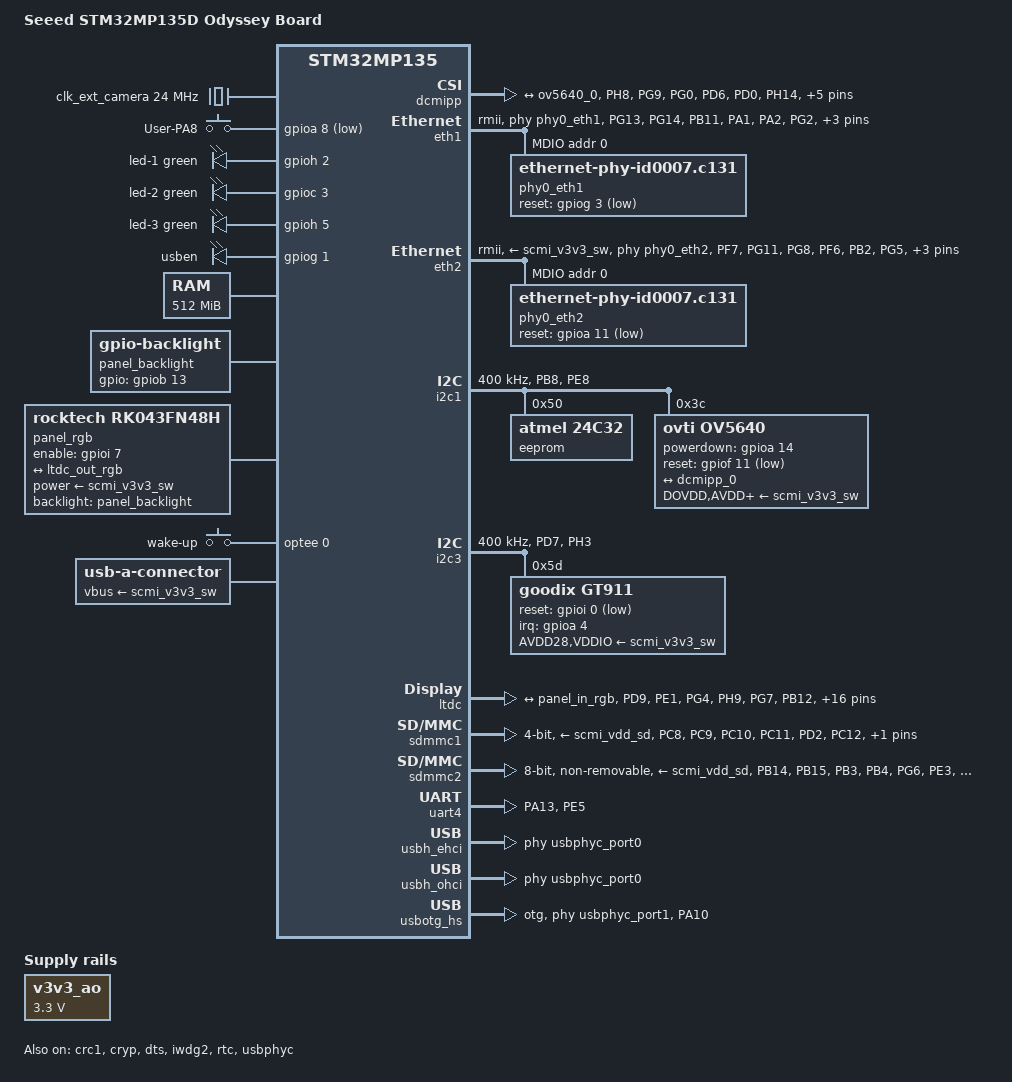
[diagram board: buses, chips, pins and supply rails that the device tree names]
// SPDX-License-Identifier: (GPL-2.0+ OR BSD-3-Clause)
/*
 * Copyright (C) STMicroelectronics 2021 - All Rights Reserved
 * Author: Alexandre Torgue <alexandre.torgue@foss.st.com> for STMicroelectronics.
 */

/dts-v1/;

#include <dt-bindings/gpio/gpio.h>
#include <dt-bindings/input/input.h>
#include <dt-bindings/leds/common.h>
#include <dt-bindings/rtc/rtc-stm32.h>
#include <dt-bindings/pinctrl/stm32-pinfunc.h>
#include "stm32mp135.dtsi"
#include "stm32mp13xf.dtsi"

/ {
	model = "Seeed STM32MP135D Odyssey Board";
	compatible = "st,stm32mp135d-odyssey", "st,stm32mp135f-dk", "st,stm32mp135";

	aliases {
		ethernet0 = &eth1;
		ethernet1 = &eth2;
		serial0 = &uart4;
		serial1 = &usart2;
	};

	chosen {
		#address-cells = <1>;
		#size-cells = <1>;
		ranges;
		stdout-path = "serial0:115200n8";

		framebuffer {
			compatible = "simple-framebuffer";
			clocks = <&rcc LTDC_PX>;
			status = "disabled";
		};
	};

	clocks {
		clk_ext_camera: clk-ext-camera {
			#clock-cells = <0>;
			compatible = "fixed-clock";
			clock-frequency = <24000000>;
		};
	};

	gpio-keys {
		compatible = "gpio-keys";

		user-pa8 {
			label = "User-PA8";
			linux,code = <BTN_1>;
			gpios = <&gpioa 8 (GPIO_ACTIVE_LOW | GPIO_PULL_UP)>;
			wakeup-source;
		};
	};

	leds {
		compatible = "gpio-leds";

		led-1 {
			function = LED_FUNCTION_HEARTBEAT;
			color = <LED_COLOR_ID_GREEN>;
			gpios = <&gpioh 2 GPIO_ACTIVE_HIGH>;
			linux,default-trigger = "heartbeat";
			default-state = "off";
		};

		led-2 {
			function = LED_FUNCTION_DISK_READ;
			color = <LED_COLOR_ID_GREEN>;
			gpios = <&gpioc 3 GPIO_ACTIVE_HIGH>;
			linux,default-trigger = "mmc0";
			default-state = "off";
		};

		led-3 {
			function = LED_FUNCTION_DISK_WRITE;
			color = <LED_COLOR_ID_GREEN>;
			gpios = <&gpioh 5 GPIO_ACTIVE_HIGH>;
			linux,default-trigger = "mmc0";
			default-state = "off";
		};

		usben {
			label = "usben";
			gpios = <&gpiog  1  GPIO_ACTIVE_HIGH>;
			linux,default-trigger = "usben";
			default-state = "on";
		};
	};

	memory@c0000000 {
		device_type = "memory";
		reg = <0xc0000000 0x20000000>;
	};

	panel_backlight: panel-backlight {
		compatible = "gpio-backlight";
		gpios = <&gpiob 13 GPIO_ACTIVE_HIGH>;
		default-on;
		default-brightness-level = <0>;
		status = "okay";
	};

	panel_rgb: panel-rgb {
		compatible = "rocktech,rk043fn48h", "panel-dpi";
		enable-gpios = <&gpioi 7 GPIO_ACTIVE_HIGH>;
		backlight = <&panel_backlight>;
		power-supply = <&scmi_v3v3_sw>;
		data-mapping = "rgb24";
		status = "okay";

		width-mm = <105>;
		height-mm = <67>;

		port {
			panel_in_rgb: endpoint {
				remote-endpoint = <&ltdc_out_rgb>;
			};
		};

		panel-timing {
			clock-frequency = <27000000>;
			hactive = <800>;
			vactive = <480>;

			hsync-len = <1>;
			hfront-porch = <40>;
			hback-porch = <46>;

			vsync-len = <3>;
			vfront-porch = <13>;
			vback-porch = <23>;

			hsync-active = <0>;
			vsync-active = <0>;
			de-active = <1>;
			pixelclk-active = <1>;
		};
	};

	reserved-memory {
		#address-cells = <1>;
		#size-cells = <1>;
		ranges;

		optee_framebuffer@dd000000 {
			reg = <0xdd000000 0x1000000>;
			no-map;
		};

		optee@de000000 {
			reg = <0xde000000 0x2000000>;
			no-map;
		};
	};

	v3v3_ao: v3v3_ao {
		compatible = "regulator-fixed";
		regulator-name = "v3v3_ao";
		regulator-min-microvolt = <3300000>;
		regulator-max-microvolt = <3300000>;
		regulator-always-on;
	};

	wake_up {
		compatible = "gpio-keys";
		status = "okay";

		button {
			label = "wake-up";
			linux,code = <KEY_WAKEUP>;
			interrupts-extended = <&optee 0>;
			status = "okay";
		};
	};
};

&crc1 {
	status = "okay";
};

&cryp {
	status = "okay";
};

&dcmipp {
	status = "okay";
	pinctrl-names = "default", "sleep";
	pinctrl-0 = <&dcmipp_pins_a>;
	pinctrl-1 = <&dcmipp_sleep_pins_a>;
	port {
		dcmipp_0: endpoint {
			remote-endpoint = <&ov5640_0>;
			bus-type = <5>;
			bus-width = <8>;
			hsync-active = <0>;
			vsync-active = <0>;
			pclk-sample = <1>;
			pclk-max-frequency = <77000000>;
		};
	};
};

&dma1 {
	sram = <&dma_pool>;
};

&dma2 {
	sram = <&dma_pool>;
};

&dts {
	status = "okay";
};

&eth1 {
	status = "okay";
	pinctrl-0 = <&eth1_rmii_pins_a>;
	pinctrl-1 = <&eth1_rmii_sleep_pins_a>;
	pinctrl-names = "default", "sleep";
	phy-mode = "rmii";
	max-speed = <100>;
	phy-handle = <&phy0_eth1>;
	nvmem-cells = <&ethernet_mac1_address>;
	nvmem-cell-names = "mac-address";

	mdio1 {
		#address-cells = <1>;
		#size-cells = <0>;
		compatible = "snps,dwmac-mdio";

		phy0_eth1: ethernet-phy@0 {
			compatible = "ethernet-phy-id0007.c131";
			reset-gpios = <&gpiog 3 (GPIO_ACTIVE_LOW | GPIO_PULL_UP)>;
			reset-assert-us = <10000>;
			reset-deassert-us = <80000>;
			reg = <0>;
			wakeup-source;
		};
	};
};

&eth2 {
	status = "okay";
	pinctrl-0 = <&eth2_rmii_pins_a>;
	pinctrl-1 = <&eth2_rmii_sleep_pins_a>;
	pinctrl-names = "default", "sleep";
	phy-mode = "rmii";
	max-speed = <100>;
	phy-handle = <&phy0_eth2>;
	st,ext-phyclk;
	phy-supply = <&scmi_v3v3_sw>;
	nvmem-cells = <&ethernet_mac2_address>;
	nvmem-cell-names = "mac-address";

	mdio1 {
		#address-cells = <1>;
		#size-cells = <0>;
		compatible = "snps,dwmac-mdio";

		phy0_eth2: ethernet-phy@0 {
			compatible = "ethernet-phy-id0007.c131";
			reset-gpios = <&gpioa 11 (GPIO_ACTIVE_LOW | GPIO_PULL_UP)>;
			reset-assert-us = <10000>;
			reset-deassert-us = <80000>;
			reg = <0>;
		};
	};
};

&i2c1 {
	pinctrl-names = "default", "sleep";
	pinctrl-0 = <&i2c1_pins_a>;
	pinctrl-1 = <&i2c1_sleep_pins_a>;
	i2c-scl-rising-time-ns = <300>;
	i2c-scl-falling-time-ns = <300>;
	clock-frequency = <400000>;
	status = "okay";
	/* spare dmas for other usage */
	/delete-property/dmas;
	/delete-property/dma-names;

	eeprom@50 {
		compatible = "atmel,24c32";
		reg = <0x50>;
	};

	ov5640: camera@3c {
		compatible = "ovti,ov5640";
		reg = <0x3c>;
		clocks = <&clk_ext_camera>;
		clock-names = "xclk";
		DOVDD-supply = <&scmi_v3v3_sw>;
		AVDD-supply = <&scmi_v3v3_sw>;
		DVDD-supply = <&scmi_v3v3_sw>;
		status = "okay";
		powerdown-gpios = <&gpioa 14 (GPIO_ACTIVE_HIGH | GPIO_PUSH_PULL)>;
		reset-gpios = <&gpiof 11 (GPIO_ACTIVE_LOW | GPIO_PUSH_PULL)>;
		rotation = <180>;

		port {
			ov5640_0: endpoint {
				remote-endpoint = <&dcmipp_0>;
				bus-width = <8>;
				data-shift = <2>;
				hsync-active = <0>;
				vsync-active = <0>;
				pclk-sample = <1>;
				pclk-max-frequency = <77000000>;
			};
		};
	};
};

&i2c3 {
	pinctrl-names = "default", "sleep";
	pinctrl-0 = <&i2c3_pins_a>;
	pinctrl-1 = <&i2c3_sleep_pins_a>;
	i2c-scl-rising-time-ns = <300>;
	i2c-scl-falling-time-ns = <300>;
	clock-frequency = <400000>;
	status = "okay";
	/* spare dmas for other usage */
	/delete-property/dmas;
	/delete-property/dma-names;

	goodix: goodix_ts@5d {
		compatible = "goodix,gt911";
		reg = <0x5d>;
		interrupt-parent = <&gpioa>;
		interrupts = <4 IRQ_TYPE_EDGE_FALLING>;
	        reset-gpios = <&gpioi 0 GPIO_ACTIVE_LOW>;
	        AVDD28-supply = <&scmi_v3v3_sw>;
	        VDDIO-supply = <&scmi_v3v3_sw>;
		touchscreen-size-x = <800>;
		touchscreen-size-y = <480>;
		status = "okay" ;
	};
};

&iwdg2 {
	timeout-sec = <32>;
	status = "okay";
};

&ltdc {
	pinctrl-names = "default", "sleep";
	pinctrl-0 = <&ltdc_pins_a>;
	pinctrl-1 = <&ltdc_sleep_pins_a>;
	status = "okay";

	port {
		#address-cells = <1>;
		#size-cells = <0>;

		ltdc_out_rgb: endpoint@0 {
			reg = <0>;
			remote-endpoint = <&panel_in_rgb>;
		};
	};
};

&qspi {
	status = "disabled";
};

&rtc {
	status = "okay";
};

&sai1 {
	status = "disabled";
};

&scmi_regu {
	scmi_vddcpu: voltd-vddcpu {
		voltd-name = "vddcpu";
		regulator-name = "vddcpu";
	};
	scmi_vdd: voltd-vdd {
		voltd-name = "vdd";
		regulator-name = "vdd";
	};
	scmi_vddcore: voltd-vddcore {
		voltd-name = "vddcore";
		regulator-name = "vddcore";
	};
	scmi_vdd_adc: voltd-vdd_adc {
		voltd-name = "vdd_adc";
		regulator-name = "vdd_adc";
	};
	scmi_vdd_usb: voltd-vdd_usb {
		voltd-name = "vdd_usb";
		regulator-name = "vdd_usb";
	};
	scmi_vdd_sd: voltd-vdd_sd {
		voltd-name = "vdd_sd";
		regulator-name = "vdd_sd";
	};
	scmi_v1v8_periph: voltd-v1v8_periph {
		voltd-name = "v1v8_periph";
		regulator-name = "v1v8_periph";
	};
	scmi_v3v3_sw: voltd-v3v3_sw {
		voltd-name = "v3v3_sw";
		regulator-name = "v3v3_sw";
	};
};

&sdmmc1 {
	pinctrl-names = "default", "opendrain", "sleep";
	pinctrl-0 = <&sdmmc1_b4_pins_a &sdmmc1_clk_pins_a>;
	pinctrl-1 = <&sdmmc1_b4_od_pins_a &sdmmc1_clk_pins_a>;
	pinctrl-2 = <&sdmmc1_b4_sleep_pins_a>;
	cd-gpios = <&gpioh 10 (GPIO_ACTIVE_LOW | GPIO_PULL_UP)>;
	disable-wp;
	st,neg-edge;
	bus-width = <4>;
	vmmc-supply = <&scmi_vdd_sd>;
	status = "okay";
};

&sdmmc2 {
	pinctrl-names = "default", "opendrain", "sleep";
	pinctrl-0 = <&sdmmc2_b4_pins_a &sdmmc2_clk_pins_a &sdmmc2_d47_pins_a>;
	pinctrl-1 = <&sdmmc2_b4_od_pins_a &sdmmc2_clk_pins_a &sdmmc2_d47_pins_a>;
	pinctrl-2 = <&sdmmc2_b4_sleep_pins_a &sdmmc2_d47_sleep_pins_a>;

	non-removable;
	st,neg-edge;
	bus-width = <8>;
	vmmc-supply = <&scmi_vdd_sd>;
	vqmmc-supply = <&scmi_vdd_sd>;

	no-sd;
	no-sdio;
	mmc-ddr-3_3v;
	no-1-8-v;
	max-frequency = <200000000>;
	status = "okay";
};

&spi5 {
	status = "disabled";
};

&sram {
	dma_pool: dma-sram@0 {
		reg = <0x0 0x4000>;
		pool;
	};
};

&timers2 {
	status = "disabled";
};

&timers3 {
	status = "disabled";
};

&timers5 {
	status = "disabled";
};

&uart4 {
	pinctrl-names = "default", "sleep", "idle";
	pinctrl-0 = <&uart4_pins_a>;
	pinctrl-1 = <&uart4_sleep_pins_a>;
	pinctrl-2 = <&uart4_idle_pins_a>;
	/delete-property/dmas;
	/delete-property/dma-names;
	status = "okay";
};

&usart2 {
	status = "disabled";
};

&usbh_ehci {
	phys = <&usbphyc_port0>;
	status = "okay";
};

&usbh_ohci{
	status = "okay";
	phys = <&usbphyc_port0>;
};

&usbotg_hs {
	pinctrl-0 = <&usbotg_hs_pins_a>;
    pinctrl-names = "default";
	phys = <&usbphyc_port1 0>;
	phy-names = "usb2-phy";
	dr_mode = "otg";
	usb-role-switch;
	status = "okay";
	/* port {
		usbotg_hs_ep: endpoint {
			remote-endpoint = <&con_usb_c_g0_ep>;
		};
	}; */
};

&usbphyc {
	status = "okay";
};

&usbphyc_port0 {
	phy-supply = <&scmi_vdd_usb>;
	st,current-boost-microamp = <1000>;
	st,decrease-hs-slew-rate;
	st,tune-hs-dc-level = <2>;
	st,enable-hs-rftime-reduction;
	st,trim-hs-current = <11>;
	st,trim-hs-impedance = <2>;
	st,tune-squelch-level = <1>;
	st,enable-hs-rx-gain-eq;
	st,no-hs-ftime-ctrl;
	st,no-lsfs-sc;

	/*
	 * Hack to keep hub active if wakeup source is enabled
	 * otherwise the hub will wakeup the port0 as soon as the v3v3_sw is disabled
	 */
	connector {
		compatible = "usb-a-connector";
		vbus-supply = <&scmi_v3v3_sw>;
	};
};

&usbphyc_port1 {
	phy-supply = <&scmi_vdd_usb>;
	st,current-boost-microamp = <1000>;
	st,decrease-hs-slew-rate;
	st,tune-hs-dc-level = <2>;
	st,enable-hs-rftime-reduction;
	st,trim-hs-current = <11>;
	st,trim-hs-impedance = <2>;
	st,tune-squelch-level = <1>;
	st,enable-hs-rx-gain-eq;
	st,no-hs-ftime-ctrl;
	st,no-lsfs-sc;
};

&pinctrl {
	/* dcmipp */
	dcmipp_pins_a: dcmi-0 {
		pins1 {
			pinmux = <STM32_PINMUX('H',  8,  AF13)>,/* DCMI_HSYNC */
				 <STM32_PINMUX('G',  9,  AF13)>,/* DCMI_VSYNC */
				 <STM32_PINMUX('G',  0,  AF13)>,/* DCMI_PIXCLK */
				 <STM32_PINMUX('D',  6,  AF14)>,/* DCMI_D0 */
				 <STM32_PINMUX('D',  0,  AF13)>,/* DCMI_D1 */
				 <STM32_PINMUX('H', 14,  AF13)>,/* DCMI_D2 */
				 <STM32_PINMUX('D',  8,  AF14)>,/* DCMI_D3 */
				 <STM32_PINMUX('E', 13,  AF13)>,/* DCMI_D4 */
				 <STM32_PINMUX('B',  6,  AF13)>,/* DCMI_D5 */
				 <STM32_PINMUX('D', 12,  AF13)>,/* DCMI_D6 */
				 <STM32_PINMUX('E',  6,  AF13)>;/* DCMI_D7 */
			bias-disable;
		};
	};

	dcmipp_sleep_pins_a: dcmi-sleep-0 {
		pins1 {
			pinmux = <STM32_PINMUX('H',  8,  ANALOG)>,/* DCMI_HSYNC */
				 <STM32_PINMUX('G',  9,  ANALOG)>,/* DCMI_VSYNC */
				 <STM32_PINMUX('G',  0,  ANALOG)>,/* DCMI_PIXCLK */
				 <STM32_PINMUX('D',  6,  ANALOG)>,/* DCMI_D0 */
				 <STM32_PINMUX('D',  0,  ANALOG)>,/* DCMI_D1 */
				 <STM32_PINMUX('H', 14,  ANALOG)>,/* DCMI_D2 */
				 <STM32_PINMUX('D',  8,  ANALOG)>,/* DCMI_D3 */
				 <STM32_PINMUX('E', 13,  ANALOG)>,/* DCMI_D4 */
				 <STM32_PINMUX('B',  6,  ANALOG)>,/* DCMI_D5 */
				 <STM32_PINMUX('D', 12,  ANALOG)>,/* DCMI_D6 */
				 <STM32_PINMUX('E',  6,  ANALOG)>;/* DCMI_D7 */
		};
	};

	/* eth1 */
	eth1_rmii_pins_a: eth1-rmii-1 {
		pins1 {
			pinmux = <STM32_PINMUX('G', 13, AF11)>, /* ETH_RMII_TXD0 */
				 <STM32_PINMUX('G', 14, AF11)>, /* ETH_RMII_TXD1 */
				 <STM32_PINMUX('B', 11, AF11)>, /* ETH_RMII_TX_EN */
				 <STM32_PINMUX('A', 1, AF11)>, /* ETH_RMII_REF_CLK */
				 <STM32_PINMUX('A', 2, AF11)>, /* ETH_MDIO */
				 <STM32_PINMUX('G', 2, AF11)>; /* ETH_MDC */
			bias-disable;
			drive-push-pull;
			slew-rate = <1>;
		};

		pins2 {
			pinmux = <STM32_PINMUX('C', 4, AF11)>, /* ETH_RMII_RXD0 */
				 <STM32_PINMUX('C', 5, AF11)>, /* ETH_RMII_RXD1 */
				 <STM32_PINMUX('C', 1, AF10)>; /* ETH_RMII_CRS_DV */
			bias-disable;
		};
	};

	eth1_rmii_sleep_pins_a: eth1-rmii-sleep-1 {
		pins1 {
			pinmux = <STM32_PINMUX('G', 13, ANALOG)>, /* ETH_RMII_TXD0 */
				 <STM32_PINMUX('G', 14, ANALOG)>, /* ETH_RMII_TXD1 */
				 <STM32_PINMUX('B', 11, ANALOG)>, /* ETH_RMII_TX_EN */
				 <STM32_PINMUX('A', 1, ANALOG)>, /* ETH_RMII_REF_CLK */
				 <STM32_PINMUX('A', 2, ANALOG)>, /* ETH_MDIO */
				 <STM32_PINMUX('G', 2, ANALOG)>, /* ETH_MDC */
				 <STM32_PINMUX('C', 4, ANALOG)>, /* ETH_RMII_RXD0 */
				 <STM32_PINMUX('C', 5, ANALOG)>, /* ETH_RMII_RXD1 */
				 <STM32_PINMUX('C', 1, ANALOG)>; /* ETH_RMII_CRS_DV */
		};
	};

	/* eth2 */
	eth2_rmii_pins_a: eth2-rmii-2 {
		pins1 {
			pinmux = <STM32_PINMUX('F', 7, AF11)>, /* ETH_RMII_TXD0 */
				 <STM32_PINMUX('G', 11, AF10)>, /* ETH_RMII_TXD1 */
				 <STM32_PINMUX('G', 8, AF13)>, /* ETH_RMII_ETHCK */
				 <STM32_PINMUX('F', 6, AF11)>, /* ETH_RMII_TX_EN */
				 <STM32_PINMUX('B', 2, AF11)>, /* ETH_MDIO */
				 <STM32_PINMUX('G', 5, AF10)>; /* ETH_MDC */
			bias-disable;
			drive-push-pull;
			slew-rate = <1>;
		};

		pins2 {
			pinmux = <STM32_PINMUX('F', 4, AF11)>, /* ETH_RMII_RXD0 */
				 <STM32_PINMUX('E', 2, AF10)>, /* ETH_RMII_RXD1 */
				 <STM32_PINMUX('A', 12, AF11)>; /* ETH_RMII_CRS_DV */
			bias-disable;
		};
	};

	eth2_rmii_sleep_pins_a: eth2-rmii-sleep-2 {
		pins1 {
			pinmux = <STM32_PINMUX('F', 7, ANALOG)>, /* ETH_RMII_TXD0 */
				 <STM32_PINMUX('G', 11, ANALOG)>, /* ETH_RMII_TXD1 */
				 <STM32_PINMUX('G', 8, ANALOG)>, /* ETH_RMII_ETHCK */
				 <STM32_PINMUX('F', 6, ANALOG)>, /* ETH_RMII_TX_EN */
				 <STM32_PINMUX('B', 2, ANALOG)>, /* ETH_MDIO */
				 <STM32_PINMUX('G', 5, ANALOG)>, /* ETH_MDC */
				 <STM32_PINMUX('F', 4, ANALOG)>, /* ETH_RMII_RXD0 */
				 <STM32_PINMUX('E', 2, ANALOG)>, /* ETH_RMII_RXD1 */
				 <STM32_PINMUX('A', 12, ANALOG)>; /* ETH_RMII_CRS_DV */
		};
	};

	/* i2c1 */
	i2c1_pins_a: i2c1-0 {
		pins {
			pinmux = <STM32_PINMUX('B', 8, AF4)>, /* I2C1_SCL */
				 <STM32_PINMUX('E', 8, AF5)>; /* I2C1_SDA */
			bias-disable;
			drive-open-drain;
			slew-rate = <0>;
		};
	};

	i2c1_sleep_pins_a: i2c1-sleep-0 {
		pins {
			pinmux = <STM32_PINMUX('B', 8, ANALOG)>, /* I2C1_SCL */
				 <STM32_PINMUX('E', 8, ANALOG)>; /* I2C1_SDA */
		};
	};

	/* i2c3 */
	i2c3_pins_a: i2c3-0 {
		pins {
			pinmux = <STM32_PINMUX('D', 7, AF5)>, /* I2C3_SDA */
				 <STM32_PINMUX('H', 3, AF4)>; /* I2C3_SCL */
			bias-disable;
			drive-open-drain;
			slew-rate = <0>;
		};
	};

	i2c3_sleep_pins_a: i2c3-sleep-0 {
		pins {
			pinmux = <STM32_PINMUX('D', 7, ANALOG)>, /* I2C3_SDA */
				 <STM32_PINMUX('H', 3, ANALOG)>; /* I2C3_SCL */
		};
	};

	/* ltdc */
	ltdc_pins_a: ltdc-0 {
		pins {
			pinmux = <STM32_PINMUX('D',  9, AF13)>, /* LCD_CLK */
				 <STM32_PINMUX('E',  1, AF9)>, /* LCD_HSYNC */
				 <STM32_PINMUX('G',  4, AF11)>, /* LCD_VSYNC */
				 <STM32_PINMUX('H',  9, AF11)>, /* LCD_DE */
				 <STM32_PINMUX('G',  7, AF14)>, /* LCD_R2 */
				 <STM32_PINMUX('B', 12, AF13)>, /* LCD_R3 */
				 <STM32_PINMUX('D', 14, AF14)>, /* LCD_R4 */
				 <STM32_PINMUX('F',  5, AF14)>, /* LCD_R5 */
				 <STM32_PINMUX('A',  9, AF14)>, /* LCD_R6 */
				 <STM32_PINMUX('E',  9, AF14)>, /* LCD_R7 */
				 <STM32_PINMUX('H', 13, AF14)>, /* LCD_G2 */
				 <STM32_PINMUX('F',  3, AF14)>, /* LCD_G3 */
				 <STM32_PINMUX('F',  2, AF13)>, /* LCD_G4 */
				 <STM32_PINMUX('D', 10,  AF9)>, /* LCD_G5 */
				 <STM32_PINMUX('E', 12, AF14)>, /* LCD_G6 */
				 <STM32_PINMUX('A', 15, AF11)>, /* LCD_G7 */
				 <STM32_PINMUX('H',  7, AF14)>, /* LCD_B2 */
				 <STM32_PINMUX('E',  7, AF13)>, /* LCD_B3 */
				 <STM32_PINMUX('G', 15, AF11)>, /* LCD_B4 */
				 <STM32_PINMUX('E',  0, AF14)>, /* LCD_B5 */
				 <STM32_PINMUX('D',  1, AF11)>,  /* LCD_B6 */
				 <STM32_PINMUX('F',  1, AF13)>; /* LCD_B7 */
			bias-disable;
			drive-push-pull;
			slew-rate = <0>;
		};
	};

	ltdc_sleep_pins_a: ltdc-sleep-0 {
		pins {
			pinmux = <STM32_PINMUX('D',  9, ANALOG)>, /* LCD_CLK */
				 <STM32_PINMUX('E',  1, ANALOG)>, /* LCD_HSYNC */
				 <STM32_PINMUX('G',  4, ANALOG)>, /* LCD_VSYNC */
				 <STM32_PINMUX('H',  9, ANALOG)>, /* LCD_DE */
				 <STM32_PINMUX('G',  7, ANALOG)>, /* LCD_R2 */
				 <STM32_PINMUX('B', 12, ANALOG)>, /* LCD_R3 */
				 <STM32_PINMUX('D', 14, ANALOG)>, /* LCD_R4 */
				 <STM32_PINMUX('F',  5, ANALOG)>, /* LCD_R5 */
				 <STM32_PINMUX('A',  9, ANALOG)>, /* LCD_R6 */
				 <STM32_PINMUX('E',  9, ANALOG)>, /* LCD_R7 */
				 <STM32_PINMUX('H', 13, ANALOG)>, /* LCD_G2 */
				 <STM32_PINMUX('F',  3, ANALOG)>, /* LCD_G3 */
				 <STM32_PINMUX('F',  2, ANALOG)>, /* LCD_G4 */
				 <STM32_PINMUX('D', 10, ANALOG)>, /* LCD_G5 */
				 <STM32_PINMUX('E', 12, ANALOG)>, /* LCD_G6 */
				 <STM32_PINMUX('A', 15, ANALOG)>, /* LCD_G7 */
				 <STM32_PINMUX('H',  7, ANALOG)>, /* LCD_B2 */
				 <STM32_PINMUX('E',  7, ANALOG)>, /* LCD_B3 */
				 <STM32_PINMUX('G', 15, ANALOG)>, /* LCD_B4 */
				 <STM32_PINMUX('E',  0, ANALOG)>, /* LCD_B5 */
				 <STM32_PINMUX('D',  1, ANALOG)>,  /* LCD_B6 */
				 <STM32_PINMUX('F',  1, ANALOG)>; /* LCD_B7 */
		};
	};

	/* sdmmc1 */
	sdmmc1_b4_pins_a: sdmmc1-b4-0 {
		pins {
			pinmux = <STM32_PINMUX('C', 8, AF12)>, /* SDMMC1_D0 */
				 <STM32_PINMUX('C', 9, AF12)>, /* SDMMC1_D1 */
				 <STM32_PINMUX('C', 10, AF12)>, /* SDMMC1_D2 */
				 <STM32_PINMUX('C', 11, AF12)>, /* SDMMC1_D3 */
				 <STM32_PINMUX('D', 2, AF12)>; /* SDMMC1_CMD */
			slew-rate = <1>;
			drive-push-pull;
			bias-disable;
		};
	};

	sdmmc1_b4_od_pins_a: sdmmc1-b4-od-0 {
		pins1 {
			pinmux = <STM32_PINMUX('C', 8, AF12)>, /* SDMMC1_D0 */
				 <STM32_PINMUX('C', 9, AF12)>, /* SDMMC1_D1 */
				 <STM32_PINMUX('C', 10, AF12)>, /* SDMMC1_D2 */
				 <STM32_PINMUX('C', 11, AF12)>; /* SDMMC1_D3 */
			slew-rate = <1>;
			drive-push-pull;
			bias-disable;
		};
		pins2 {
			pinmux = <STM32_PINMUX('D', 2, AF12)>; /* SDMMC1_CMD */
			slew-rate = <1>;
			drive-open-drain;
			bias-disable;
		};
	};

	sdmmc1_b4_sleep_pins_a: sdmmc1-b4-sleep-0 {
		pins {
			pinmux = <STM32_PINMUX('C', 8, ANALOG)>, /* SDMMC1_D0 */
				 <STM32_PINMUX('C', 9, ANALOG)>, /* SDMMC1_D1 */
				 <STM32_PINMUX('C', 10, ANALOG)>, /* SDMMC1_D2 */
				 <STM32_PINMUX('C', 11, ANALOG)>, /* SDMMC1_D3 */
				 <STM32_PINMUX('C', 12, ANALOG)>, /* SDMMC1_CK */
				 <STM32_PINMUX('D', 2, ANALOG)>; /* SDMMC1_CMD */
		};
	};

	sdmmc1_clk_pins_a: sdmmc1-clk-0 {
		pins {
			pinmux = <STM32_PINMUX('C', 12, AF12)>; /* SDMMC1_CK */
			slew-rate = <1>;
			drive-push-pull;
			bias-disable;
		};
	};

	/* sdmmc2 */
	sdmmc2_b4_pins_a: sdmmc2-b4-0 {
		pins {
			pinmux = <STM32_PINMUX('B', 14, AF10)>, /* SDMMC2_D0 */
				 <STM32_PINMUX('B', 15, AF10)>, /* SDMMC2_D1 */
				 <STM32_PINMUX('B', 3, AF10)>, /* SDMMC2_D2 */
				 <STM32_PINMUX('B', 4, AF10)>, /* SDMMC2_D3 */
				 <STM32_PINMUX('G', 6, AF10)>; /* SDMMC2_CMD */
			slew-rate = <1>;
			drive-push-pull;
			bias-pull-up;
		};
	};

	sdmmc2_b4_od_pins_a: sdmmc2-b4-od-0 {
		pins1 {
			pinmux = <STM32_PINMUX('B', 14, AF10)>, /* SDMMC2_D0 */
				 <STM32_PINMUX('B', 15, AF10)>, /* SDMMC2_D1 */
				 <STM32_PINMUX('B', 3, AF10)>, /* SDMMC2_D2 */
				 <STM32_PINMUX('B', 4, AF10)>; /* SDMMC2_D3 */
			slew-rate = <1>;
			drive-push-pull;
			bias-pull-up;
		};
		pins2 {
			pinmux = <STM32_PINMUX('G', 6, AF10)>; /* SDMMC2_CMD */
			slew-rate = <1>;
			drive-open-drain;
			bias-pull-up;
		};
	};

	sdmmc2_b4_sleep_pins_a: sdmmc2-b4-sleep-0 {
		pins {
			pinmux = <STM32_PINMUX('B', 14, ANALOG)>, /* SDMMC2_D0 */
				 <STM32_PINMUX('B', 15, ANALOG)>, /* SDMMC2_D1 */
				 <STM32_PINMUX('B', 3, ANALOG)>, /* SDMMC2_D2 */
				 <STM32_PINMUX('B', 4, ANALOG)>, /* SDMMC2_D3 */
				 <STM32_PINMUX('E', 3, ANALOG)>, /* SDMMC2_CK */
				 <STM32_PINMUX('G', 6, ANALOG)>; /* SDMMC2_CMD */
		};
	};

	sdmmc2_clk_pins_a: sdmmc2-clk-0 {
		pins {
			pinmux = <STM32_PINMUX('E', 3, AF10)>; /* SDMMC2_CK */
			slew-rate = <1>;
			drive-push-pull;
			bias-pull-up;
		};
	};

	/* sdmmc2_d47 */
	sdmmc2_d47_pins_a: sdmmc2-d47-0 {
		pins {
			pinmux = <STM32_PINMUX('F', 0, AF10)>, /* SDMMC2_D4 */
				 <STM32_PINMUX('B', 9, AF10)>, /* SDMMC2_D5 */
				 <STM32_PINMUX('C', 6, AF10)>, /* SDMMC2_D6 */
				 <STM32_PINMUX('C', 7, AF10)>; /* SDMMC2_D7 */
			slew-rate = <1>;
			drive-push-pull;
			bias-pull-up;
		};
	};

	sdmmc2_d47_sleep_pins_a: sdmmc2-d47-sleep-0 {
		pins {
			pinmux = <STM32_PINMUX('F', 0, ANALOG)>, /* SDMMC2_D4 */
				 <STM32_PINMUX('B', 9, ANALOG)>, /* SDMMC2_D5 */
				 <STM32_PINMUX('C', 6, ANALOG)>, /* SDMMC2_D6 */
				 <STM32_PINMUX('C', 7, ANALOG)>; /* SDMMC2_D7 */
		};
	};

	/* uart4 */
	uart4_pins_a: uart4-0 {
		pins1 {
			pinmux = <STM32_PINMUX('A', 13, AF8)>; /* UART4_TX */
			bias-disable;
			drive-push-pull;
			slew-rate = <0>;
		};
		pins2 {
			pinmux = <STM32_PINMUX('E', 5, AF8)>; /* UART4_RX */
			bias-disable;
		};
	};

	uart4_idle_pins_a: uart4-idle-0 {
		pins1 {
			pinmux = <STM32_PINMUX('A', 13, ANALOG)>; /* UART4_TX */
		};
		pins2 {
			pinmux = <STM32_PINMUX('E', 5, AF8)>; /* UART4_RX */
			bias-disable;
		};
	};

	uart4_sleep_pins_a: uart4-sleep-0 {
		pins {
			pinmux = <STM32_PINMUX('A', 13, ANALOG)>, /* UART4_TX */
				 <STM32_PINMUX('E', 5, ANALOG)>; /* UART4_RX */
		};
	};

	usbotg_hs_pins_a: usbotg-hs-0 {
		pins {
			pinmux = <STM32_PINMUX('A', 10, ANALOG)>; /* OTG_ID */
			bias-pull-down;
		};
	};
};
